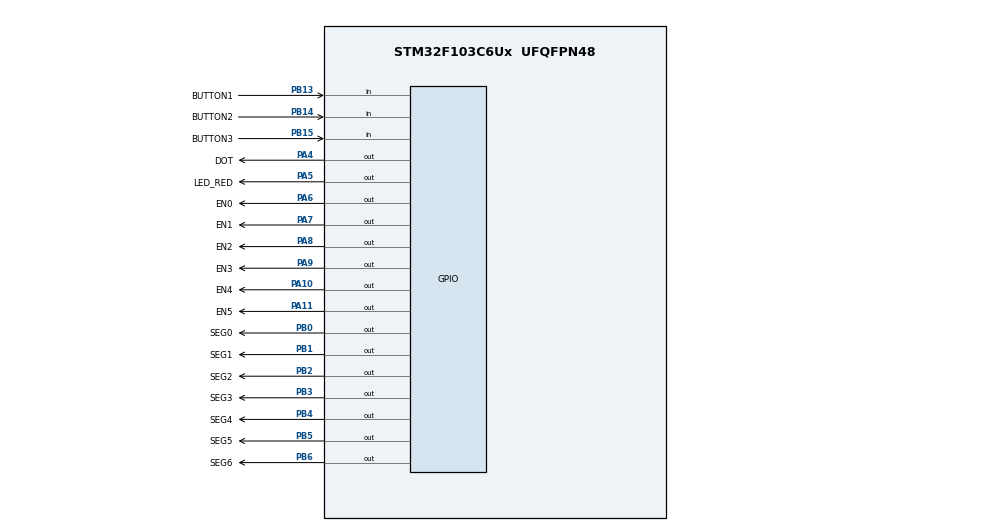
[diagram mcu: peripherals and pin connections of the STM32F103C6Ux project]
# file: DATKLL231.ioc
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Mcu.Family=STM32F1
Mcu.Name=STM32F103C6Ux
Mcu.Package=UFQFPN48
NVIC.PriorityGroup=NVIC_PRIORITYGROUP_4
PA10.GPIO_Label=EN4
PA10.Signal=GPIO_Output
PA11.GPIO_Label=EN5
PA11.Signal=GPIO_Output
PA13.Mode=Serial_Wire
PA13.Signal=SYS_JTMS-SWDIO
PA14.Mode=Serial_Wire
PA14.Signal=SYS_JTCK-SWCLK
PA4.GPIO_Label=DOT
PA4.Signal=GPIO_Output
PA5.GPIO_Label=LED_RED
PA5.Signal=GPIO_Output
PA6.GPIO_Label=EN0
PA6.Signal=GPIO_Output
PA7.GPIO_Label=EN1
PA7.Signal=GPIO_Output
PA8.GPIO_Label=EN2
PA8.Signal=GPIO_Output
PA9.GPIO_Label=EN3
PA9.Signal=GPIO_Output
PB0.GPIO_Label=SEG0
PB0.Signal=GPIO_Output
PB1.GPIO_Label=SEG1
PB1.Signal=GPIO_Output
PB13.GPIO_Label=BUTTON1
PB13.Signal=GPIO_Input
PB14.GPIO_Label=BUTTON2
PB14.Signal=GPIO_Input
PB15.GPIO_Label=BUTTON3
PB15.Signal=GPIO_Input
PB2.GPIO_Label=SEG2
PB2.Signal=GPIO_Output
PB3.GPIO_Label=SEG3
PB3.Signal=GPIO_Output
PB4.GPIO_Label=SEG4
PB4.Signal=GPIO_Output
PB5.GPIO_Label=SEG5
PB5.Signal=GPIO_Output
PB6.GPIO_Label=SEG6
PB6.Signal=GPIO_Output
PC14-OSC32_IN.Mode=LSE-External-Oscillator
PC14-OSC32_IN.Signal=RCC_OSC32_IN
PC15-OSC32_OUT.Mode=LSE-External-Oscillator
PC15-OSC32_OUT.Signal=RCC_OSC32_OUT
PD0-OSC_IN.Mode=HSE-External-Oscillator
PD0-OSC_IN.Signal=RCC_OSC_IN
PD1-OSC_OUT.Mode=HSE-External-Oscillator
PD1-OSC_OUT.Signal=RCC_OSC_OUT
ProjectManager.HeapSize=0x200
ProjectManager.StackSize=0x400
ProjectManager.TargetToolchain=STM32CubeIDE
RCC.APB1Freq_Value=8000000
RCC.APB2Freq_Value=8000000
RTC.Date=17
RTC.Hours=4
RTC.Month=RTC_MONTH_DECEMBER
RTC.WeekDay=RTC_WEEKDAY_SUNDAY
RTC.Year=23
VP_RTC_No_RTC_Output.Mode=RTC_OUT_NO
VP_RTC_VS_RTC_Activate.Mode=RTC_Enabled
VP_RTC_VS_RTC_Calendar.Mode=RTC_Calendar
board=custom

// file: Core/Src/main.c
/* USER CODE BEGIN Header */
/**
  ******************************************************************************
  * @file           : main.c
  * @brief          : Main program body
  ******************************************************************************
  * @attention
  *
  * <h2><center>&copy; Copyright (c) 2023 STMicroelectronics.
  * All rights reserved.</center></h2>
  *
  * This software component is licensed by ST under BSD 3-Clause license,
  * the "License"; You may not use this file except in compliance with the
  * License. You may obtain a copy of the License at:
  *                        opensource.org/licenses/BSD-3-Clause
  *
  ******************************************************************************
  */
/* USER CODE END Header */
#include "main.h"

RTC_HandleTypeDef hrtc;

void SystemClock_Config(void);
static void MX_GPIO_Init(void);
static void MX_RTC_Init(void);

/* USER CODE BEGIN 0 */

RTC_HandleTypeDef hrtc;
RTC_TimeTypeDef sTime;
RTC_DateTypeDef sDate;

int displayMode = 0;  // 0: Hiển thị thời gian, 1: Hiển thị ngày/tháng/năm
int button1Pressed = 0;

const uint8_t sevenSegmentDigits[10] = {
  0b11000000, // 0
  0b11111001, // 1
  0b10100100, // 2
  0b10110000, // 3
  0b10011001, // 4
  0b10010010, // 5
  0b10000010, // 6
  0b11111000, // 7
  0b10000000, // 8
  0b10010000  // 9
};

void SystemClock_Config(void);
static void MX_GPIO_Init(void);
static void MX_RTC_Init(void);
void DisplayTimeOn7Segment(void);
void DisplayDateOn7Segment(void);

/* USER CODE END 0 */

int main(void)
{

  /* MCU Configuration--------------------------------------------------------*/

  /* Reset of all peripherals, Initializes the Flash interface and the Systick. */
  HAL_Init();

  /* Configure the system clock */
  SystemClock_Config();

  /* Initialize all configured peripherals */
  MX_GPIO_Init();
  MX_RTC_Init();

  /* Infinite loop */
  /* USER CODE BEGIN WHILE */
  while (1)
  {
	  if (HAL_GPIO_ReadPin(BUTTON1_GPIO_Port, BUTTON1_Pin) == GPIO_PIN_SET)
	      {
	        button1Pressed++;
	        if (button1Pressed == 3000)  // 3 giây
	        {
	          displayMode = 1;
	        }
	      }
	      else
	      {
	        button1Pressed = 0;
	      }

	      if (displayMode == 0)
	      {
	        HAL_RTC_GetTime(&hrtc, &sTime, RTC_FORMAT_BCD);
	        DisplayTimeOn7Segment();
	      }
	      else
	      {
	        HAL_RTC_GetDate(&hrtc, &sDate, RTC_FORMAT_BCD);
	        DisplayDateOn7Segment();
	        HAL_Delay(5000);
	        displayMode = 0;  // Quay lại chế độ hiển thị thời gian
	      }

	      HAL_GPIO_TogglePin(DOT_GPIO_Port, DOT_Pin);  // Nhấp nháy dot mỗi giây
	      HAL_Delay(1000);
    /* USER CODE END WHILE */

  }
}

void SystemClock_Config(void)
{
  RCC_OscInitTypeDef RCC_OscInitStruct = {0};
  RCC_ClkInitTypeDef RCC_ClkInitStruct = {0};
  RCC_PeriphCLKInitTypeDef PeriphClkInit = {0};

  /** Initializes the RCC Oscillators according to the specified parameters
  * in the RCC_OscInitTypeDef structure.
  */
  RCC_OscInitStruct.OscillatorType = RCC_OSCILLATORTYPE_HSI|RCC_OSCILLATORTYPE_LSI;
  RCC_OscInitStruct.HSIState = RCC_HSI_ON;
  RCC_OscInitStruct.HSICalibrationValue = RCC_HSICALIBRATION_DEFAULT;
  RCC_OscInitStruct.LSIState = RCC_LSI_ON;
  RCC_OscInitStruct.PLL.PLLState = RCC_PLL_NONE;
  if (HAL_RCC_OscConfig(&RCC_OscInitStruct) != HAL_OK)
  {
    Error_Handler();
  }
  /** Initializes the CPU, AHB and APB buses clocks
  */
  RCC_ClkInitStruct.ClockType = RCC_CLOCKTYPE_HCLK|RCC_CLOCKTYPE_SYSCLK
                              |RCC_CLOCKTYPE_PCLK1|RCC_CLOCKTYPE_PCLK2;
  RCC_ClkInitStruct.SYSCLKSource = RCC_SYSCLKSOURCE_HSI;
  RCC_ClkInitStruct.AHBCLKDivider = RCC_SYSCLK_DIV1;
  RCC_ClkInitStruct.APB1CLKDivider = RCC_HCLK_DIV1;
  RCC_ClkInitStruct.APB2CLKDivider = RCC_HCLK_DIV1;

  if (HAL_RCC_ClockConfig(&RCC_ClkInitStruct, FLASH_LATENCY_0) != HAL_OK)
  {
    Error_Handler();
  }
  PeriphClkInit.PeriphClockSelection = RCC_PERIPHCLK_RTC;
  PeriphClkInit.RTCClockSelection = RCC_RTCCLKSOURCE_LSI;
  if (HAL_RCCEx_PeriphCLKConfig(&PeriphClkInit) != HAL_OK)
  {
    Error_Handler();
  }
}

static void MX_RTC_Init(void)
{

  RTC_TimeTypeDef sTime = {0};
  RTC_DateTypeDef DateToUpdate = {0};

  /** Initialize RTC Only
  */
  hrtc.Instance = RTC;
  hrtc.Init.AsynchPrediv = RTC_AUTO_1_SECOND;
  hrtc.Init.OutPut = RTC_OUTPUTSOURCE_NONE;
  if (HAL_RTC_Init(&hrtc) != HAL_OK)
  {
    Error_Handler();
  }

  /** Initialize RTC and set the Time and Date
  */
  sTime.Hours = 0x4;
  sTime.Minutes = 0x0;
  sTime.Seconds = 0x0;

  if (HAL_RTC_SetTime(&hrtc, &sTime, RTC_FORMAT_BCD) != HAL_OK)
  {
    Error_Handler();
  }
  DateToUpdate.WeekDay = RTC_WEEKDAY_SUNDAY;
  DateToUpdate.Month = RTC_MONTH_DECEMBER;
  DateToUpdate.Date = 0x17;
  DateToUpdate.Year = 0x23;

  if (HAL_RTC_SetDate(&hrtc, &DateToUpdate, RTC_FORMAT_BCD) != HAL_OK)
  {
    Error_Handler();
  }

}

static void MX_GPIO_Init(void)
{
  GPIO_InitTypeDef GPIO_InitStruct = {0};

  /* GPIO Ports Clock Enable */
  __HAL_RCC_GPIOC_CLK_ENABLE();
  __HAL_RCC_GPIOD_CLK_ENABLE();
  __HAL_RCC_GPIOA_CLK_ENABLE();
  __HAL_RCC_GPIOB_CLK_ENABLE();

  /*Configure GPIO pin Output Level */
  HAL_GPIO_WritePin(GPIOA, DOT_Pin|LED_RED_Pin|EN0_Pin|EN1_Pin
                          |EN2_Pin|EN3_Pin|EN4_Pin|EN5_Pin, GPIO_PIN_RESET);

  /*Configure GPIO pin Output Level */
  HAL_GPIO_WritePin(GPIOB, SEG0_Pin|SEG1_Pin|SEG2_Pin|SEG3_Pin
                          |SEG4_Pin|SEG5_Pin|SEG6_Pin, GPIO_PIN_RESET);

  /*Configure GPIO pins : DOT_Pin LED_RED_Pin EN0_Pin EN1_Pin
                           EN2_Pin EN3_Pin EN4_Pin EN5_Pin */
  GPIO_InitStruct.Pin = DOT_Pin|LED_RED_Pin|EN0_Pin|EN1_Pin
                          |EN2_Pin|EN3_Pin|EN4_Pin|EN5_Pin;
  GPIO_InitStruct.Mode = GPIO_MODE_OUTPUT_PP;
  GPIO_InitStruct.Pull = GPIO_NOPULL;
  GPIO_InitStruct.Speed = GPIO_SPEED_FREQ_LOW;
  HAL_GPIO_Init(GPIOA, &GPIO_InitStruct);

  /*Configure GPIO pins : SEG0_Pin SEG1_Pin SEG2_Pin SEG3_Pin
                           SEG4_Pin SEG5_Pin SEG6_Pin */
  GPIO_InitStruct.Pin = SEG0_Pin|SEG1_Pin|SEG2_Pin|SEG3_Pin
                          |SEG4_Pin|SEG5_Pin|SEG6_Pin;
  GPIO_InitStruct.Mode = GPIO_MODE_OUTPUT_PP;
  GPIO_InitStruct.Pull = GPIO_NOPULL;
  GPIO_InitStruct.Speed = GPIO_SPEED_FREQ_LOW;
  HAL_GPIO_Init(GPIOB, &GPIO_InitStruct);

  /*Configure GPIO pins : BUTTON1_Pin BUTTON2_Pin BUTTON3_Pin */
  GPIO_InitStruct.Pin = BUTTON1_Pin|BUTTON2_Pin|BUTTON3_Pin;
  GPIO_InitStruct.Mode = GPIO_MODE_INPUT;
  GPIO_InitStruct.Pull = GPIO_NOPULL;
  HAL_GPIO_Init(GPIOB, &GPIO_InitStruct);

}

/* USER CODE BEGIN 4 */
void DisplayTimeOn7Segment(void)
{
  uint8_t hour = (sTime.Hours & 0xF) + ((sTime.Hours >> 4) * 10);
  uint8_t minute = (sTime.Minutes & 0xF) + ((sTime.Minutes >> 4) * 10);
  uint8_t second = (sTime.Seconds & 0xF) + ((sTime.Seconds >> 4) * 10);

  uint8_t digitValues[6] = {
    hour / 10, hour % 10,
    minute / 10, minute % 10,
    second / 10, second % 10
  };

  for (int digit = 0; digit < 6; ++digit)
  {
    // Hiển thị giá trị của mỗi chữ số lên LED 7 đoạn tương ứng
    for (int segment = 0; segment < 7; ++segment)
    {
      uint8_t segmentValue = (sevenSegmentDigits[digitValues[digit]] >> segment) & 0x01;
      HAL_GPIO_WritePin(GPIOB, SEG0_Pin + segment, segmentValue ? GPIO_PIN_SET : GPIO_PIN_RESET);
      HAL_GPIO_WritePin(GPIOA, EN0_Pin + digit, GPIO_PIN_SET);  // Kích hoạt LED 7 đoạn tương ứng
      for (volatile int i = 0; i < 100; ++i) {} // Tạo độ trễ ngắn
      HAL_GPIO_WritePin(GPIOA, EN0_Pin + digit, GPIO_PIN_RESET);  // Tắt LED 7 đoạn
    }
  }
}
void DisplayDateOn7Segment(void)
{
  uint8_t day = (sDate.Date & 0xF) + ((sDate.Date >> 4) * 10);
  uint8_t month = (sDate.Month & 0xF) + ((sDate.Month >> 4) * 10);
  uint8_t year = (sDate.Year & 0xF) + ((sDate.Year >> 4) * 10);

  uint8_t digitValues[6] = {
    day / 10, day % 10,
    month / 10, month % 10,
    year / 10, year % 10
  };

  for (int digit = 0; digit < 6; ++digit)
  {
    // Hiển thị giá trị của mỗi chữ số lên LED 7 đoạn tương ứng
    for (int segment = 0; segment < 7; ++segment)
    {
      uint8_t segmentValue = (sevenSegmentDigits[digitValues[digit]] >> segment) & 0x01;
      HAL_GPIO_WritePin(GPIOB, SEG0_Pin + segment, segmentValue ? GPIO_PIN_SET : GPIO_PIN_RESET);
      HAL_GPIO_WritePin(GPIOA, EN0_Pin + digit, GPIO_PIN_SET);  // Kích hoạt LED 7 đoạn tương ứng
      for (volatile int i = 0; i < 100; ++i) {} // Tạo độ trễ ngắn
      HAL_GPIO_WritePin(GPIOA, EN0_Pin + digit, GPIO_PIN_RESET);  // Tắt LED 7 đoạn
    }
  }
}
/* USER CODE END 4 */

void Error_Handler(void)
{
  __disable_irq();
  while (1)
  {
  }
}

/************************ (C) COPYRIGHT STMicroelectronics *****END OF FILE****/
